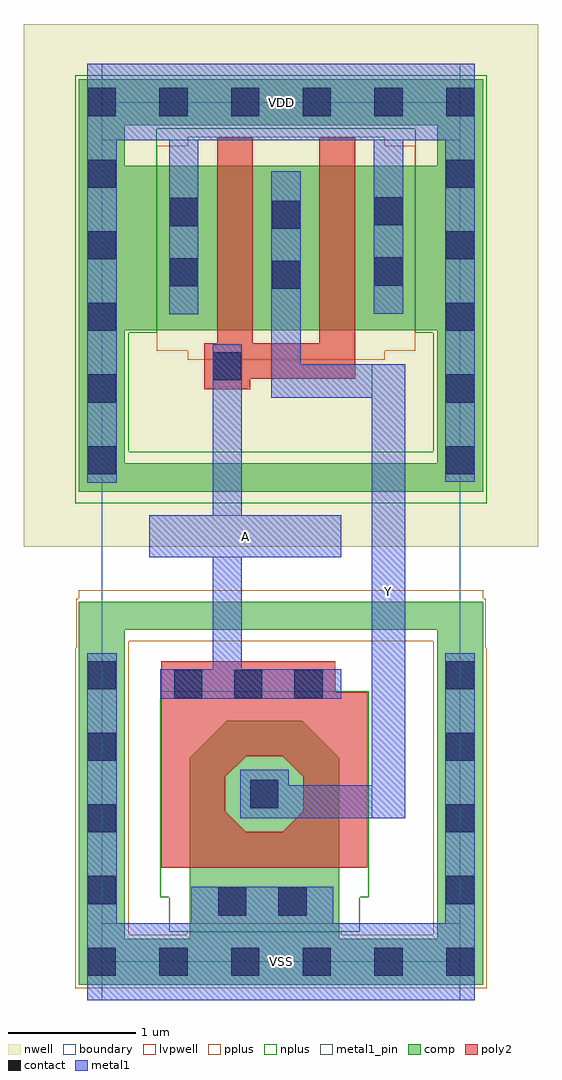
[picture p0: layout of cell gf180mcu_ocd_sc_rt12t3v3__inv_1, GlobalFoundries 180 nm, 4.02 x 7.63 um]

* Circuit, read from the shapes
.subckt gf180mcu_ocd_sc_rt12t3v3__inv_1 A VDD VSS Y
XM1 Y A VSS VSS nfet_03v3 w=1.785u l=0.5296u
XM2 Y A VDD VDD pfet_03v3 w=1.285u l=0.28u m=2
.ends

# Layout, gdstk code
import gdstk
lib = gdstk.Library(unit=1e-6, precision=1e-09)
def R(c, l, rs):  # rectangles x0, y0, x1, y1
    for r in rs: c.add(gdstk.rectangle(r[:2], r[2:], *l))
def A(c, l, x, y, w, h, nx, ny, dx, dy):  # array of equal rectangles
    R(c, l, [(x+i*dx, y+j*dy, x+i*dx+w, y+j*dy+h) for i in range(nx) for j in range(ny)])
def P(c, l, *ps):  # polygons
    for p in ps: c.add(gdstk.Polygon(p, *l))
boundary = (0, 0)
nwell = (21, 0)
comp = (22, 0)
poly2 = (30, 0)
pplus = (31, 0)
nplus = (32, 0)
contact = (33, 0)
metal1 = (34, 0)
metal1_pin = (34, 10)
lvpwell = (204, 0)

gf180mcu_ocd_sc_rt12t3v3 = lib.new_cell('gf180mcu_ocd_sc_rt12t3v3__inv_1')
R(gf180mcu_ocd_sc_rt12t3v3, boundary, [(0,0,2.8,6.72)])
R(gf180mcu_ocd_sc_rt12t3v3, nwell, [(-0.61,3.245,3.41,7.33)])
R(gf180mcu_ocd_sc_rt12t3v3, comp, [(-0.18,-0.18,2.98,0.18), (-0.18,0.18,0.18,2.595), (0.685,0.18,1.855,1.595), (2.62,0.18,2.98,2.595), (0.975,1.595,1.565,1.885), (-0.18,2.595,2.98,2.815), (-0.18,3.675,2.98,3.895), (-0.18,3.895,0.18,4.935), (2.62,3.895,2.98,4.935), (-0.18,4.935,2.98,6.22), (-0.18,6.22,0.18,6.54), (2.62,6.22,2.98,6.54), (-0.18,6.54,2.98,6.9)])
P(gf180mcu_ocd_sc_rt12t3v3, comp, [(0.685,1.595),(0.975,1.595),(0.975,1.885)],
  [(1.565,1.885),(1.565,1.595),(1.855,1.595)])
R(gf180mcu_ocd_sc_rt12t3v3, poly2, [(0.465,0.735,2.075,1.015), (0.465,1.015,0.965,1.595), (1.575,1.015,2.075,1.595), (0.465,1.595,1.115,1.605), (1.425,1.595,2.075,1.605), (0.465,1.605,2.075,2.105), (0.465,2.105,1.825,2.35), (0.8,4.475,1.16,4.555), (0.8,4.555,1.98,4.835), (0.9,4.835,1.18,6.44), (1.7,4.835,1.98,6.44)])
P(gf180mcu_ocd_sc_rt12t3v3, poly2, [(1.115,1.595),(1.115,1.605),(1.125,1.605)],
  [(1.415,1.605),(1.425,1.605),(1.425,1.595)],
  [(0.965,1.445),(0.965,1.595),(1.115,1.595)],
  [(1.425,1.595),(1.575,1.595),(1.575,1.445)],
  [(0.965,1.175),(0.965,1.015),(1.125,1.015)],
  [(1.415,1.015),(1.575,1.015),(1.575,1.175)])
R(gf180mcu_ocd_sc_rt12t3v3, pplus, [(-0.21,-0.21,3.01,0.21), (-0.21,0.21,0.21,2.45), (0.665,0.21,1.875,0.235), (2.59,0.21,3.01,2.45), (-0.2,2.45,0.21,2.505), (2.59,2.45,3,2.505), (-0.2,2.505,3,2.835), (-0.18,2.835,2.98,2.905), (0.67,4.705,2.21,4.775), (0.43,4.775,2.45,6.38), (0.67,6.38,2.21,6.45)])
R(gf180mcu_ocd_sc_rt12t3v3, nplus, [(0.525,0.235,2.015,0.505), (0.455,0.505,2.085,2.115), (-0.21,3.585,3.01,3.985), (-0.21,3.985,0.21,4.915), (2.59,3.985,3.01,4.915), (-0.21,4.915,0.43,6.51), (2.45,4.915,3.01,6.51), (-0.21,6.51,3.01,6.93)])
A(gf180mcu_ocd_sc_rt12t3v3, contact, -0.11, -0.11, 0.22, 0.22, 6, 2, 0.56, 6.72)
A(gf180mcu_ocd_sc_rt12t3v3, contact, -0.11, 0.45, 0.22, 0.22, 1, 4, 0, 0.56)
A(gf180mcu_ocd_sc_rt12t3v3, contact, 2.69, 0.45, 0.22, 0.22, 1, 4, 0, 0.56)
A(gf180mcu_ocd_sc_rt12t3v3, contact, 0.565, 2.06, 0.22, 0.22, 3, 1, 0.47, 0)
A(gf180mcu_ocd_sc_rt12t3v3, contact, -0.11, 3.81, 0.22, 0.22, 1, 5, 0, 0.56)
A(gf180mcu_ocd_sc_rt12t3v3, contact, 2.69, 3.81, 0.22, 0.22, 1, 5, 0, 0.56)
R(gf180mcu_ocd_sc_rt12t3v3, contact, [(0.91,0.36,1.13,0.58), (1.38,0.36,1.6,0.58), (1.16,1.2,1.38,1.42), (0.87,4.545,1.09,4.765), (1.33,5.26,1.55,5.48), (0.53,5.28,0.75,5.5), (2.13,5.285,2.35,5.505), (1.33,5.73,1.55,5.95), (0.53,5.75,0.75,5.97), (2.13,5.755,2.35,5.975)])
R(gf180mcu_ocd_sc_rt12t3v3, metal1, [(-0.115,-0.3,2.915,0.3), (-0.115,0.3,0.115,2.41), (0.7,0.3,1.81,0.585), (2.685,0.3,2.915,2.41), (1.08,1.12,2.37,1.38), (1.08,1.38,1.46,1.5), (2.11,1.38,2.37,4.41), (0.455,2.055,1.87,2.285), (0.865,2.285,1.095,3.16), (0.37,3.16,1.87,3.49), (0.865,3.49,1.095,4.825), (-0.115,3.745,0.115,6.42), (2.685,3.75,2.915,6.42), (1.325,4.41,2.37,4.67), (1.325,4.67,1.555,6.18), (0.525,5.06,0.755,6.42), (2.125,5.065,2.355,6.42), (-0.115,6.42,2.915,7.02)])
R(gf180mcu_ocd_sc_rt12t3v3, metal1_pin, [(0,-0.3,2.8,0.3), (2.11,1.12,2.37,4.67), (0.37,3.16,1.87,3.49), (0,6.42,2.8,7.02)])
R(gf180mcu_ocd_sc_rt12t3v3, lvpwell, [(0,-0.3,2.8,-0.18), (-0.18,-0.18,2.98,2.815)])
gf180mcu_ocd_sc_rt12t3v3.add(gdstk.Label('A', (1.12,3.325), layer=34, texttype=10))
gf180mcu_ocd_sc_rt12t3v3.add(gdstk.Label('Y', (2.24,2.895), layer=34, texttype=10))
gf180mcu_ocd_sc_rt12t3v3.add(gdstk.Label('VDD', (1.4,6.72), layer=34, texttype=10))
gf180mcu_ocd_sc_rt12t3v3.add(gdstk.Label('VSS', (1.4,0), layer=34, texttype=10))

lib.write_gds('gf180mcu_ocd_sc_rt12t3v3__inv_1.gds')
